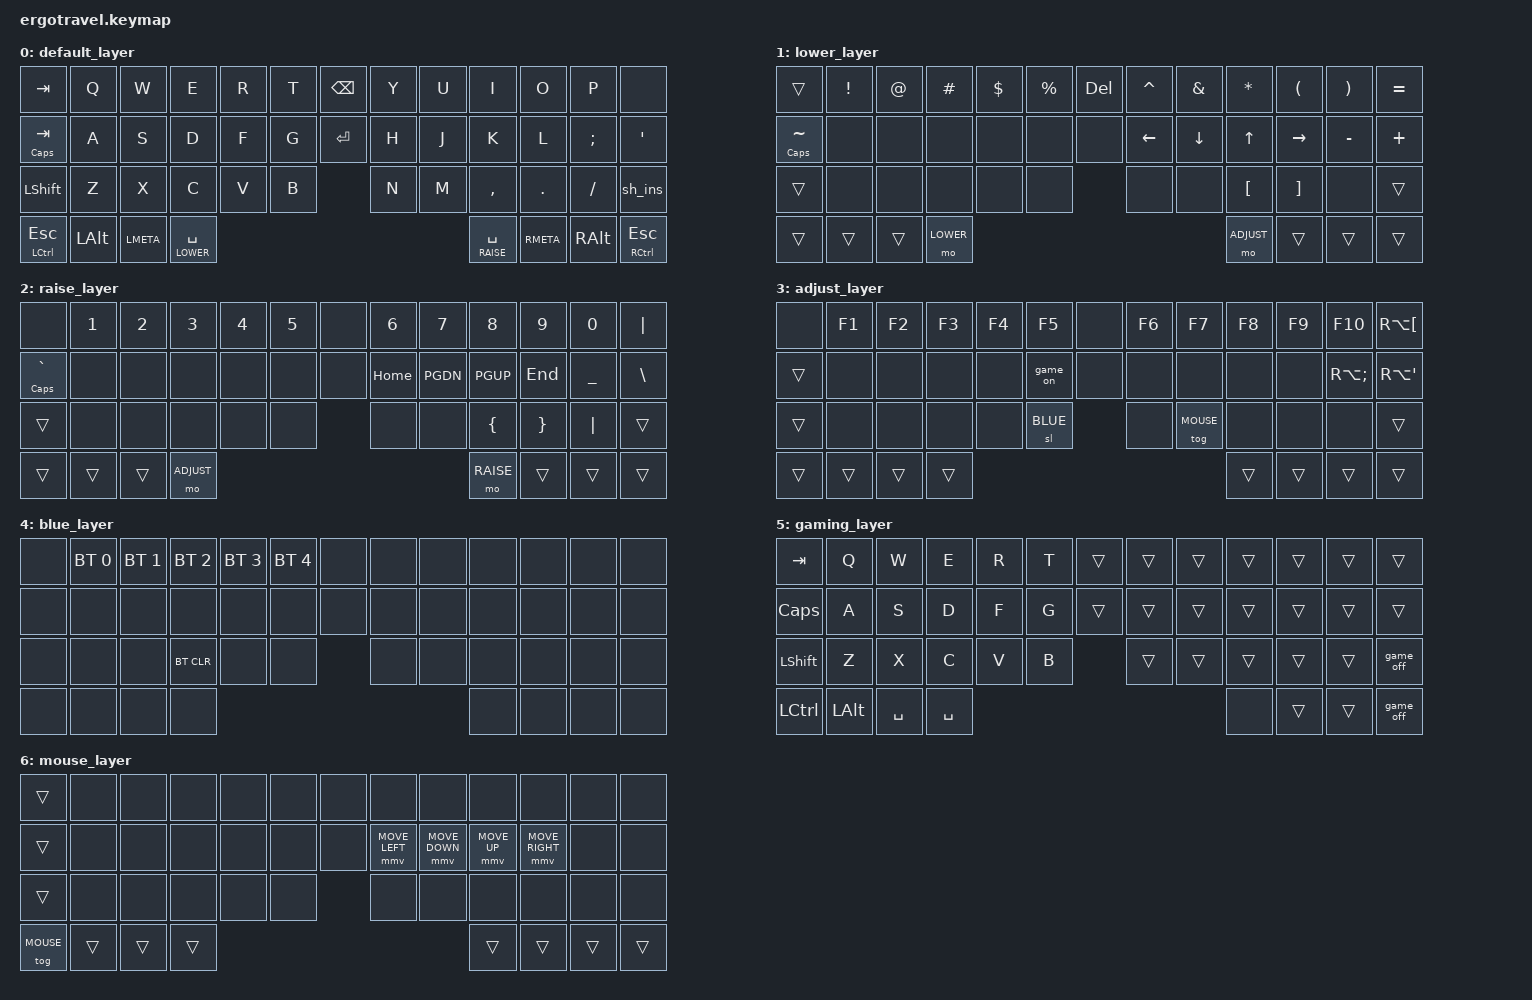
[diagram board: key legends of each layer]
/*
 * Copyright (c) 2020 The ZMK Contributors
 *
 * SPDX-License-Identifier: MIT
 */

#include <behaviors.dtsi>
#include <dt-bindings/zmk/keys.h>
#include <dt-bindings/zmk/bt.h>
#include <dt-bindings/zmk/outputs.h>
#include <dt-bindings/zmk/mouse.h>

#define _____ &none

#define DEFAULT 0
#define LOWER   1
#define RAISE   2
#define ADJUST  3
#define BLUE    4
#define GAMING  5
#define MOUSE   6


#define M_UP     &mmv MOVE_UP
#define M_DOWN   &mmv MOVE_DOWN
#define M_LEFT   &mmv MOVE_LEFT
#define M_RIGHT  &mmv MOVE_RIGHT

#define AA RA(LBKT)
#define AE RA(APOS)
#define OE RA(SEMI)

/ {
    behaviors {
        sh_ins: shift_insert {
            compatible = "zmk,behavior-mod-morph";
            label = "SHIFT_INSERT";
            #binding-cells = <0>;
            bindings = <&kp RSHFT>, <&kp INSERT>;
            mods = <(MOD_LSFT|MOD_LCTL)>;
        };

        game_on: gaming_on {
            compatible = "zmk,behavior-macro";
            label = "GAMING_ON";
            #binding-cells = <0>;
            bindings = <&out OUT_USB>, <&to GAMING>;
        };

        game_off: gaming_off {
            compatible = "zmk,behavior-macro";
            label = "GAMING_OFF";
            #binding-cells = <0>;
            bindings = <&out OUT_BLE>, <&tog GAMING>;
        };
    };

    keymap {
        compatible = "zmk,keymap";

        default_layer {
            bindings = <
// ╭───────────┬───────────┬───────────┬───────────┬───────────┬───────────╮                 ╭──────────╮╭───────────┬───────────┬───────────┬───────────┬───────────┬───────────╮
     &kp TAB     &kp  Q      &kp  W      &kp  E      &kp  R      &kp  T                        &kp BSPC    &kp  Y      &kp  U      &kp  I      &kp  O      &kp  P      _____
// ├───────────┼───────────┼───────────┼───────────┼───────────┼───────────┤                 ├──────────┤├───────────┼───────────┼───────────┼───────────┼───────────┼───────────┤
    &mt CAPS TAB &kp  A      &kp  S      &kp  D      &kp  F      &kp  G                        &kp ENTER   &kp  H      &kp  J      &kp  K      &kp  L      &kp SEMI    &kp APOS
// ├───────────┼───────────┼───────────┼───────────┼───────────┼───────────┤                 ╰──────────╯├───────────┼───────────┼───────────┼───────────┼───────────┼───────────┤
     &kp LSHFT   &kp  Z      &kp  X      &kp  C      &kp  V      &kp  B                                    &kp  N      &kp  M      &kp COMMA   &kp DOT     &kp SLASH   &sh_ins
// ├───────────┼───────────┴───────────┴───────────┼───────────┼───────────┼───────────╮     ╭───────────┼───────────┼───────────┼───────────┴───────────┴───────────┼───────────┤
     &mt LCTRL ESCAPE                                &kp LALT    &kp LMETA  &lt LOWER SPACE &lt RAISE SPACE &kp RMETA  &kp RALT                                        &mt RCTRL ESCAPE
// ╰───────────╯                                   ╰───────────┴───────────┴───────────╯     ╰───────────┴───────────┴───────────╯                                   ╰───────────╯
            >;
        };

        lower_layer {
            bindings = <
// ╭───────────┬───────────┬───────────┬───────────┬───────────┬───────────╮                 ╭──────────╮╭───────────┬───────────┬───────────┬───────────┬───────────┬───────────╮
     &trans       &kp EXCL    &kp AT      &kp HASH   &kp DOLLAR  &kp PRCNT                    &kp DELETE   &kp CARET   &kp AMPS    &kp STAR    &kp LPAR    &kp RPAR    &kp EQUAL
// ├───────────┼───────────┼───────────┼───────────┼───────────┼───────────┤                 ├──────────┤├───────────┼───────────┼───────────┼───────────┼───────────┼───────────┤
   &mt CAPS TILDE _____       _____       _____       _____       _____                        _____       &kp LEFT    &kp DOWN    &kp UP      &kp RIGHT   &kp MINUS   &kp PLUS
// ├───────────┼───────────┼───────────┼───────────┼───────────┼───────────┤                 ╰──────────╯├───────────┼───────────┼───────────┼───────────┼───────────┼───────────┤
     &trans       _____       _____       _____       _____       _____                                    _____       _____       &kp LBKT    &kp RBKT    _____       &trans
// ├───────────┼───────────┴───────────┴───────────┼───────────┼───────────┼───────────╮     ╭───────────┼───────────┼───────────┼───────────┴───────────┴───────────┼───────────┤
     &trans                                           &trans      &trans      &mo LOWER       &mo ADJUST   &trans      &trans                                          &trans
// ╰───────────╯                                   ╰───────────┴───────────┴───────────╯     ╰───────────┴───────────┴───────────╯                                   ╰───────────╯
            >;
        };

        raise_layer {
            bindings = <
// ╭───────────┬───────────┬───────────┬───────────┬───────────┬───────────╮                 ╭──────────╮╭───────────┬───────────┬───────────┬───────────┬───────────┬───────────╮
     _____       &kp N1      &kp N2      &kp N3      &kp N4      &kp N5                        _____       &kp N6      &kp N7      &kp N8      &kp N9      &kp N0      &kp PIPE
// ├───────────┼───────────┼───────────┼───────────┼───────────┼───────────┤                 ├──────────┤├───────────┼───────────┼───────────┼───────────┼───────────┼───────────┤
   &mt CAPS GRAVE _____      _____       _____       _____       _____                         _____       &kp HOME    &kp PGDN    &kp PGUP    &kp END     &kp UNDER   &kp BSLH
// ├───────────┼───────────┼───────────┼───────────┼───────────┼───────────┤                 ╰──────────╯├───────────┼───────────┼───────────┼───────────┼───────────┼───────────┤
     &trans      _____       _____       _____       _____       _____                                     _____       _____       &kp LBRC    &kp RBRC    &kp PIPE    &trans
// ├───────────┼───────────┴───────────┴───────────┼───────────┼───────────┼───────────╮     ╭───────────┼───────────┼───────────┼───────────┴───────────┴───────────┼───────────┤
     &trans                                          &trans      &trans      &mo ADJUST        &mo RAISE   &trans      &trans                                          &trans
// ╰───────────╯                                   ╰───────────┴───────────┴───────────╯     ╰───────────┴───────────┴───────────╯                                   ╰───────────╯
            >;
        };

        adjust_layer {
            bindings = <
// ╭───────────┬───────────┬───────────┬───────────┬───────────┬───────────╮                 ╭──────────╮╭───────────┬───────────┬───────────┬───────────┬───────────┬───────────╮
      _____       &kp F1      &kp F2      &kp F3      &kp F4     &kp F5                         _____      &kp F6      &kp F7      &kp F8      &kp F9      &kp F10     &kp AA
// ├───────────┼───────────┼───────────┼───────────┼───────────┼───────────┤                 ├──────────┤├───────────┼───────────┼───────────┼───────────┼───────────┼───────────┤
      &trans      _____       _____       _____       _____      &game_on                       _____      _____       _____       _____       _____       &kp OE      &kp AE
// ├───────────┼───────────┼───────────┼───────────┼───────────┼───────────┤                 ╰──────────╯├───────────┼───────────┼───────────┼───────────┼───────────┼───────────┤
      &trans      _____       _____       _____       _____      &sl BLUE                                  _____       &tog MOUSE  _____       _____       _____       &trans
// ├───────────┼───────────┴───────────┴───────────┼───────────┼───────────┼───────────╮     ╭───────────┼───────────┼───────────┼───────────┴───────────┴───────────┼───────────┤
      &trans                                          &trans     &trans       &trans            &trans     &trans      &trans                                          &trans
// ╰───────────╯                                   ╰───────────┴───────────┴───────────╯     ╰───────────┴───────────┴───────────╯                                   ╰───────────╯
            >;
        };

        blue_layer {
            bindings = <
// ╭─────────┬────────────┬────────────┬────────────┬────────────┬────────────╮               ╭──────────╮╭───────────┬───────────┬───────────┬───────────┬───────────┬──────────╮
     _____    &bt BT_SEL 0 &bt BT_SEL 1 &bt BT_SEL 2 &bt BT_SEL 3 &bt BT_SEL 4                   _____       _____       _____       _____       _____       _____       _____
// ├─────────┼────────────┼────────────┼────────────┼────────────┼────────────┤               ├──────────┤├───────────┼───────────┼───────────┼───────────┼───────────┼──────────┤
     _____     _____         _____        _____        _____        _____                        _____       _____       _____       _____       _____       _____       _____
// ├─────────┼────────────┼────────────┼────────────┼────────────┼────────────┤               ╰──────────╯├───────────┼───────────┼───────────┼───────────┼───────────┼──────────┤
     _____     _____         _____      &bt BT_CLR     _____        _____                                    _____       _____       _____       _____       _____       _____
// ├─────────┼────────────┴────────────┴────────────┼────────────┼────────────┼─────────╮     ╭───────────┼───────────┼───────────┼───────────┴───────────┴───────────┼──────────┤
     _____                                             _____        _____         _____          _____       _____       _____                                           _____
// ╰─────────╯                                      ╰────────────┴────────────┴─────────╯     ╰───────────┴───────────┴───────────╯                                   ╰──────────╯
            >;
        };

        gaming_layer {
            bindings = <
// ╭───────────┬───────────┬───────────┬───────────┬───────────┬───────────╮                 ╭──────────╮╭───────────┬───────────┬───────────┬───────────┬───────────┬──────────╮
     &kp TAB     &kp  Q      &kp  W      &kp  E      &kp  R      &kp  T                        &trans      &trans      &trans      &trans      &trans      &trans      &trans
// ├───────────┼───────────┼───────────┼───────────┼───────────┼───────────┤                 ├──────────┤├───────────┼───────────┼───────────┼───────────┼───────────┼──────────┤
     &kp CAPS    &kp  A      &kp  S      &kp  D      &kp  F      &kp  G                        &trans      &trans      &trans      &trans      &trans      &trans      &trans
// ├───────────┼───────────┼───────────┼───────────┼───────────┼───────────┤                 ╰──────────╯├───────────┼───────────┼───────────┼───────────┼───────────┼──────────┤
     &kp LSHFT   &kp  Z      &kp  X      &kp  C      &kp  V      &kp  B                                    &trans      &trans      &trans      &trans      &trans      &game_off
// ├───────────┼───────────┴───────────┴───────────┼───────────┼───────────┼───────────╮     ╭───────────┼───────────┼───────────┼───────────┴───────────┴───────────┼──────────┤
     &kp LCTRL                                       &kp LALT    &kp SPACE  &kp SPACE          _____       &trans      &trans                                          &game_off
// ╰───────────╯                                   ╰───────────┴───────────┴───────────╯     ╰───────────┴───────────┴───────────╯                                   ╰──────────╯
            >;
        };

        mouse_layer {
            bindings = <
// ╭───────────┬───────────┬───────────┬───────────┬───────────┬───────────╮                 ╭──────────╮╭───────────┬───────────┬───────────┬───────────┬───────────┬──────────╮
     &trans      _____       _____       _____       _____       _____                         _____       _____       _____       _____       _____       _____       _____
// ├───────────┼───────────┼───────────┼───────────┼───────────┼───────────┤                 ├──────────┤├───────────┼───────────┼───────────┼───────────┼───────────┼──────────┤
     &trans      _____       _____       _____       _____       _____                         _____       M_LEFT      M_DOWN      M_UP        M_RIGHT     _____       _____
// ├───────────┼───────────┼───────────┼───────────┼───────────┼───────────┤                 ╰──────────╯├───────────┼───────────┼───────────┼───────────┼───────────┼──────────┤
     &trans      _____       _____       _____       _____       _____                                     _____       _____       _____       _____       _____       _____
// ├───────────┼───────────┴───────────┴───────────┼───────────┼───────────┼───────────╮     ╭───────────┼───────────┼───────────┼───────────┴───────────┴───────────┼──────────┤
     &tog MOUSE                                      &trans      &trans      &trans            &trans      &trans      &trans                                          &trans
// ╰───────────╯                                   ╰───────────┴───────────┴───────────╯     ╰───────────┴───────────┴───────────╯                                   ╰──────────╯
            >;
        };
    };
};

